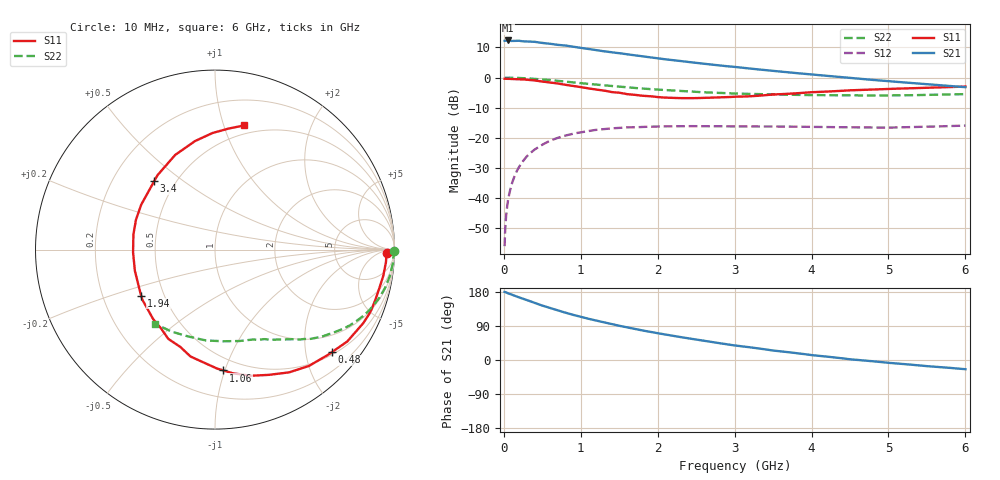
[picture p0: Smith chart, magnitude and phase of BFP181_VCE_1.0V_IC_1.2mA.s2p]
! Infineon Technologies  Discrete & RF Semiconductors
! BFP181
! VCE = 1.0 V,  IC =  1.2 mA
! Common Emitter S-Parameters:  Jan 2016
# GHz  S  MA  R  50
!  f  S11  S21  S12  S22
! GHz  MAG  ANG  MAG  ANG  MAG  ANG  MAG  ANG
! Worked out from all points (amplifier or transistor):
!   210 points, 10 MHz to 6 GHz, reference 50 ohm
!   highest |S21| = 12.3 dB at 50 MHz (marker M1)
!   |S21| within 3 dB of that: start of sweep to 1.147 GHz
!   unconditionally stable (mu >= 1): 2.741 GHz to end of sweep
!   at 185 MHz: K = 0.09, MSG = 21.2 dB, |S12| = -30.2 dB
!   at 1.52 GHz: K = 0.59, MSG = 12.3 dB, |S12| = -16.7 dB
!   at 6 GHz: K = 1.32, MAG = 3.0 dB, |S12| = -15.9 dB
!   S11 on the Smith chart (normalised r, x): 10 MHz: 39, -15; 480 MHz: 0.56, -2.54; 1.06 GHz: 0.40, -0.99; 1.94 GHz: 0.37, -0.25; 3.4 GHz: 0.38, +0.39; 6 GHz: 0.42, +1.17
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0.01  0.9559 -1.0  4.068 179.6  0.0016 91.0  0.9982 -0.3
0.015  0.9559 -1.4  4.077 179.4  0.0025 90.0  0.9944 -0.5
0.025  0.9556 -2.2  4.092 178.7  0.0042 90.2  0.9914 -1.0
0.05  0.9549 -4.3  4.128 176.4  0.0085 91.5  0.9949 -2.1
0.11  0.9467 -9.8  4.052 171.9  0.0183 81.9  0.9932 -4.7
0.19  0.9365 -16.7  4.075 165.9  0.0317 79.0  0.986 -8.1
0.4  0.8972 -34.8  3.92 150.4  0.064 68.1  0.9542 -16.4
0.48  0.8658 -41.4  3.782 145.0  0.0743 63.2  0.9363 -19.3
0.6  0.8331 -51.1  3.645 137.3  0.0897 57.5  0.9102 -23.5
0.8  0.7599 -66.7  3.404 124.9  0.1092 49.1  0.8604 -29.5
1.02  0.6891 -83.1  3.073 113.0  0.1251 40.4  0.8034 -35.3
1.06  0.6751 -86.0  3.029 110.9  0.1278 39.1  0.7943 -36.2
1.3  0.6109 -102.9  2.733 99.4  0.1401 31.6  0.7454 -41.3
1.5  0.5614 -117.6  2.543 90.3  0.146 26.5  0.7056 -44.8
1.94  0.4847 -148.0  2.136 73.0  0.1539 17.9  0.6384 -51.6
2.02  0.4731 -153.5  2.071 70.0  0.1551 16.8  0.6299 -52.6
2.52  0.4575 174.4  1.742 53.4  0.1561 9.7  0.5782 -59.9
3.1  0.4843 144.3  1.456 36.0  0.1548 4.2  0.5396 -68.7
3.4  0.5102 131.6  1.33 28.0  0.1548 2.4  0.5294 -73.5
4.1  0.5785 110.2  1.097 11.0  0.1515 -1.1  0.5105 -87.0
5.1  0.6545 89.7  0.851 -9.0  0.1489 -1.8  0.5068 -108.9
6  0.7103 76.9  0.693 -24.3  0.1599 -1.2  0.5319 -129.0
